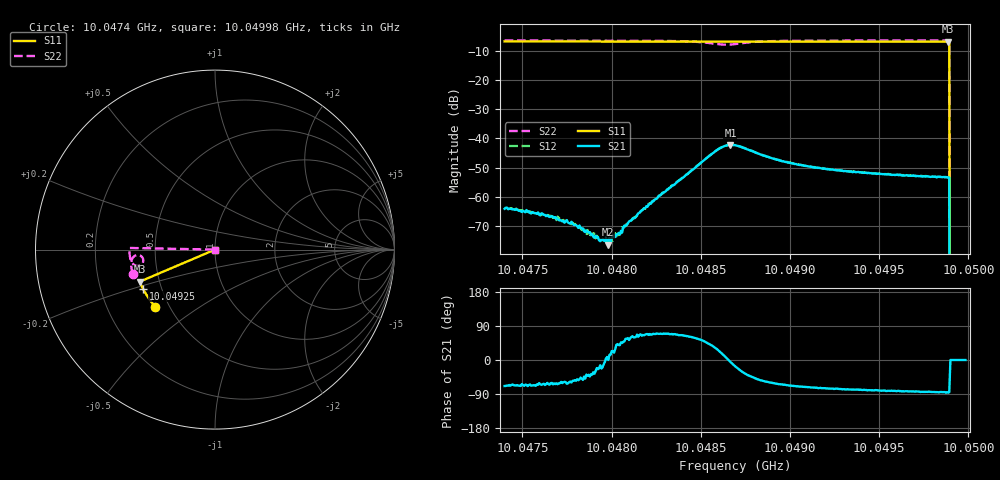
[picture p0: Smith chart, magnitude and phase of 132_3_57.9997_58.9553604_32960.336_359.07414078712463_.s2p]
#  HZ  S  RI  R  50.00
! Rohde & Schwarz Vector Network Analyzer
! Rohde-Schwarz,ZNB20-2Port,1311601062101988,3.16
! Created: UTC 3/21/2024, 12:56:10 AM
! freq[Hz]  re:S11  im:S11  re:S21  im:S21  re:S12  im:S12  re:S22  im:S22
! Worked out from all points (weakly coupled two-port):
!   401 points, 10.0474 GHz to 10.04998 GHz, reference 50 ohm
!   highest |S21| = -42.22 dB at 10.04867 GHz (marker M1); lowest = -76.4 dB at 10.04798 GHz (marker M2)
!   lowest |S11| = -6.8 dB at 10.04989 GHz (marker M3), VSWR 2.67, Z = 19.4 - j8.75 ohm
!   |S11| at or under -10 dB: 10.04989 GHz to end of sweep
!   |S22| runs from - to -6.4 dB; largest |S21 - S12| = 0.00057
!   S11 on the Smith chart (normalised r, x): 10.0474 GHz: 0.42, -0.34; 10.04925 GHz: 0.39, -0.22; 10.04998 GHz: 1.00, +0.00
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1.0047401e10  -0.333 -0.3176  0.000227 -0.000581  0.000295 -0.000571  -0.4584 -0.1373
1.0047653e10  -0.344 -0.3048  0.000188 -0.000408  0.000229 -0.000403  -0.4624 -0.1196
1.0047788e10  -0.3495 -0.2979  0.00019 -0.000269  0.000215 -0.000259  -0.4644 -0.1096
1.0047833e10  -0.3515 -0.2955  0.000187 -0.000219  0.000181 -0.000201  -0.4649 -0.1061
1.004793e10  -0.3554 -0.2905  0.000166 -6.63e-05  0.000194 -4.26e-05  -0.4659 -0.0984
1.0047982e10  -0.3575 -0.2878  0.000151 -2.55e-07  0.000142 8.64e-06  -0.4665 -0.0941
1.0047995e10  -0.358 -0.287  0.000161 4.06e-05  0.000176 3.87e-05  -0.4666 -0.0931
1.0048046e10  -0.3601 -0.2844  0.000176 0.000144  0.000145 0.00017  -0.4669 -0.0887
1.0048072e10  -0.3609 -0.2828  0.000209 0.000241  0.000174 0.00025  -0.467 -0.0865
1.0048104e10  -0.3623 -0.2813  0.000207 0.000328  0.000202 0.00032  -0.467 -0.0835
1.0048266e10  -0.3686 -0.2726  0.00037 0.000961  0.000316 0.00101  -0.4662 -0.067
1.0048582e10  -0.3797 -0.2547  0.00516 0.00318  0.00498 0.00346  -0.4188 -0.0323
1.0048666e10  -0.3821 -0.2504  0.00771 -0.000694  0.00776 -0.000129  -0.4002 -0.0677
1.0048692e10  -0.3831 -0.2492  0.00734 -0.00215  0.00751 -0.00167  -0.4064 -0.0799
1.0048912e10  -0.3911 -0.2371  0.00213 -0.00392  0.00238 -0.00383  -0.4608 -0.0754
1.0049125e10  -0.3979 -0.2246  0.000971 -0.00307  0.00117 -0.00306  -0.4714 -0.0515
1.0049247e10  -0.4017 -0.2174  0.000672 -0.0028  0.000885 -0.00275  -0.4738 -0.0403
1.0049557e10  -0.4106 -0.1989  0.000366 -0.00239  0.000505 -0.00238  -0.4763 -0.0153
1.004988e10  -0.4189 -0.1794  0.000197 -0.00216  0.000285 -0.00212  -0.4765 0.00831
1.0049886e10  -0.4191 -0.1789  0.000143 -0.00212  0.000276 -0.00214  -0.4766 0.00879
1.0049912e10  0 0  0 0  0 0  0 0
1.0049983e10  0 0  0 0  0 0  0 0
